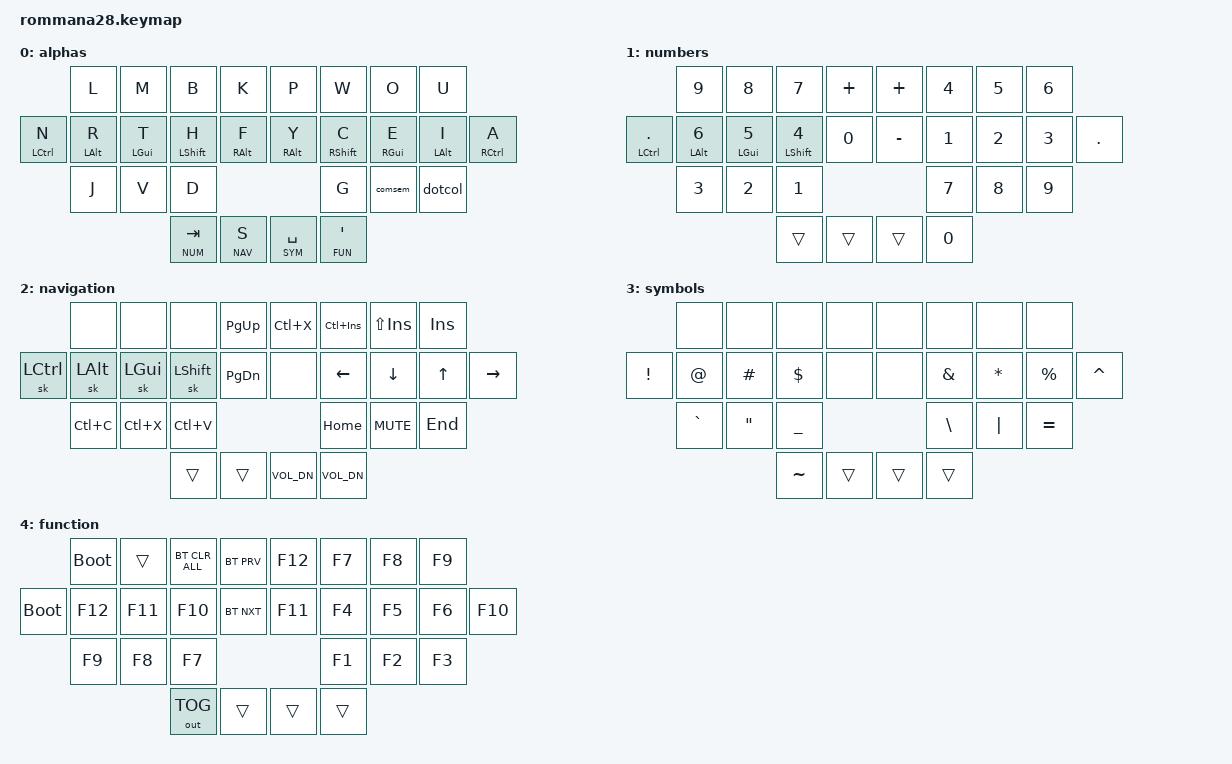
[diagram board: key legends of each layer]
#include <behaviors.dtsi>
#include <dt-bindings/zmk/keys.h>
#include <dt-bindings/zmk/bt.h>
#include <dt-bindings/zmk/outputs.h>

#define ALF 0
#define NUM 1
#define NAV 2
#define SYM 3
#define FUN 4
#define BLE 5

// &lt {
//     quick_tap_ms = <170>;
// };

&caps_word {
    continue-list = <UNDERSCORE MINUS BSPC LSHFT RSHFT>;
};

/ {
    macros {
        macro_sch: macro_sch {
            label = "Macro_sch";
            compatible = "zmk,behavior-macro";
            #binding-cells = <0>;
            bindings = <
		    &macro_tap &kp S
		    &macro_release &kp LSHIFT
		    &macro_tap &kp C &kp H
	    >;
        };
        macro_eu: macro_eu {
            label = "Macro_eu";
            compatible = "zmk,behavior-macro";
            #binding-cells = <0>;
            bindings = <
		    &macro_tap &kp E &kp U
	    >;
        };
        macro_oa: macro_oa {
            label = "Macro_oa";
            compatible = "zmk,behavior-macro";
            #binding-cells = <0>;
            bindings = <
		    &macro_tap &kp O &kp A
	    >;
        };
        macro_space_oss: macro_space_oss {
            label = "Macro_Space_OSS";
            compatible = "zmk,behavior-macro";
            #binding-cells = <0>;
            bindings
                = <&macro_tap &kp SPACE>
                , <&macro_tap &sk LSFT>
                ;
        };
        macro_de_ae: macro_de_ae {
            compatible = "zmk,behavior-macro";
            #binding-cells = <0>;
            bindings
                = <&macro_press &kp RALT>
                , <&macro_tap &kp DQT>
                , <&macro_release &kp RALT>
                , <&macro_tap &kp A>                   
                ;
            tap-ms = <10>;
        };
        macro_de_oe: macro_de_oe {
            compatible = "zmk,behavior-macro";
            #binding-cells = <0>;
            bindings
                = <&macro_press &kp RALT>
                , <&macro_tap &kp DQT>
                , <&macro_release &kp RALT>
                , <&macro_tap &kp O>                   
                ;
            tap-ms = <10>;
        };
        macro_de_ue: macro_de_ue {
            compatible = "zmk,behavior-macro";
            #binding-cells = <0>;
            bindings
                = <&macro_press &kp RALT>
                , <&macro_tap &kp DQT>
                , <&macro_release &kp RALT>
                , <&macro_tap &kp U>                   
                ;
            tap-ms = <10>;
        };
        macro_de_sz: macro_de_sz {
            compatible = "zmk,behavior-macro";
            #binding-cells = <0>;
            bindings
                = <&macro_press &kp RALT>
                , <&macro_tap &kp S>
                , <&macro_release &kp RALT>
                ;
            tap-ms = <10>;
        };
    };
};


#define COMBO(NAME, BINDINGS, KEYPOS) \
combo_##NAME { \
    timeout-ms = <20>; \
    bindings = <BINDINGS>; \
    key-positions = <KEYPOS>; \
};

/ {
    combos {
        compatible = "zmk,combos";

/* usually on base layer */
        COMBO(q, &kp Q, 0 1)
        COMBO(z, &kp Z, 1 2)
        COMBO(x, &kp X, 18 19)
        COMBO(_ae, &macro_de_ae, 17 26)
        COMBO(_oe, &macro_de_oe, 6 26)
        COMBO(_ue, &macro_de_ue, 7 26)
        COMBO(_sz, &macro_de_sz, 9 25)
        COMBO(sch, &macro_sch, 0 2)
        COMBO(slash, &kp SLASH, 22 23)
        COMBO(dash, &kp MINUS, 21 22)
        COMBO(enter, &kp ENTER, 21 23)
        COMBO(esc, &kp ESC, 19 20)
/* parentheticals */
        COMBO(lbrc, &kp LBRC, 0 9)
        COMBO(lbkt, &kp LBKT, 1 10)
        COMBO(lpar, &kp LPAR, 2 11)
        COMBO(lt, &kp LT, 3 12)
        COMBO(gt, &kp GT, 4 13)
        COMBO(rpar, &kp RPAR, 5 14)
        COMBO(rbkt, &kp RBKT, 6 15)
        COMBO(rbrc, &kp RBRC, 7 16)
/* caps */
        COMBO(caps, &caps_word, 11 14)
        COMBO(capslock, &kp CAPSLOCK, 0 7)
/* deletion */
        COMBO(tab, &kp TAB, 4 5)
        COMBO(bspc, &kp BSPC, 5 6)
        COMBO(del, &kp DEL, 6 7)
        COMBO(delword, &kp LC(BSPC), 5 7)
/* alternative shifting */
        COMBO(Scomma, &kp COLON, 23 27)
        COMBO(Sdot, &kp SEMI, 22 27)
        COMBO(loss, &sk LSFT, 9 11)
        COMBO(ross, &sk RSFT, 14 16)
    };
};

//     __________________________  __________________________
//    /     0  |  1  |  2  |  3  \/   4 |   5 |   6 |   7    \
// |  8  |  9  | 10  | 11  | 12  /\  13 |  14 |  15 |  16 | 17  |
//    \    18  | 19  | 20    /        \    21 |  22 |  23   /
//          \    24  | 25  /            \  26 |  27    /
//           --------------              --------------


/ {

    behaviors {
        hl: homerow_mods_left {
            compatible = "zmk,behavior-hold-tap";
            #binding-cells = <2>;
            // flavor = "tap-preferred";
            flavor = "balanced";
            tapping-term-ms = <150>;
            quick-tap-ms = <100>;
            // global-quick-tap;
            bindings = <&kp>, <&kp>;
            // opposite side hand keys
            hold-trigger-key-positions = <4 5 6 7 13 14 15 16 17 21 22 23 24 25 26 27>;
        };
        hr: homerow_mods_right {
            compatible = "zmk,behavior-hold-tap";
            #binding-cells = <2>;
            // flavor = "tap-preferred";
            flavor = "balanced";
            tapping-term-ms = <150>;
            quick-tap-ms = <100>;
            // global-quick-tap;
            bindings = <&kp>, <&kp>;
            // opposite side hand keys
            hold-trigger-key-positions = <0 1 2 3 8 9 10 11 12 18 19 20 24 25 26 27>;
        };

        my_lt: my_layer_taps {
            compatible = "zmk,behavior-hold-tap";
            #binding-cells = <2>;
            // flavor = "tap-preferred";
            flavor = "balanced";
            tapping-term-ms = <150>;
            quick-tap-ms = <100>;
            // global-quick-tap;
            bindings = <&mo>, <&kp>;
            // non-thumb keys
            // hold-trigger-key-positions = <0 1 2 3 4 5 6 7 8 9 10 11 12 13 14 15 16 17 18 19 20 21 22 23>;
        };
        sposs_lt: sposs_lt {
            compatible = "zmk,behavior-hold-tap";
            #binding-cells = <2>;
            // flavor = "tap-preferred";
            flavor = "balanced";
            tapping-term-ms = <150>;
            quick-tap-ms = <100>;
            // global-quick-tap;
            bindings = <&mo>, <&macro_space_oss>;
            // non-thumb keys
            // hold-trigger-key-positions = <0 1 2 3 4 5 6 7 8 9 10 11 12 13 14 15 16 17 18 19 20 21 22 23>;
        };

        dotcol: dot_colon {
            compatible = "zmk,behavior-mod-morph";
            label = "DOT_COL";
            #binding-cells = <0>;
            bindings = <&kp DOT>, <&kp COLON>;
            mods = <(MOD_LSFT|MOD_RSFT)>;
        };
        comsem: comma_semicolon {
            compatible = "zmk,behavior-mod-morph";
            label = "COM_SEM";
            #binding-cells = <0>;
            bindings = <&kp COMMA>, <&kp SEMI>;
            mods = <(MOD_LSFT|MOD_RSFT)>;
        };
    };
};


// Rommana28 physical layout approximation
//     __________________________  __________________________
//    /     0  |  1  |  2  |  3  \/   4 |   5 |   6 |   7    \
// |  8  |  9  | 10  | 11  | 12  /\  13 |  14 |  15 |  16 | 17  |
//    \    18  | 19  | 20    /        \    21 |  22 |  23   /
//          \    24  | 25  /            \  26 |  27    /
//           --------------              --------------

/ {

    keymap {
        compatible = "zmk,keymap";

        alphas {
            bindings = <
                               &kp L          &kp M          &kp B          &kp K          &kp P            &kp W          &kp O          &kp U
                &hl LCTRL N    &hl LALT R     &hl LGUI T     &hl LSHFT H    &hl RALT F     &hr RALT Y       &hr RSHFT C    &hr RGUI E     &hr LALT I     &hr RCTRL A
                               &kp J          &kp V          &kp D                                          &kp G          &comsem        &dotcol
                                                             &my_lt NUM TAB &my_lt NAV S   &my_lt SYM SPACE &my_lt FUN SQT
            >;
        };
        numbers {
            bindings = <
                              &kp N9      &kp N8      &kp N7       &kp PLUS       &kp PLUS       &kp N4         &kp N5         &kp N6
                &hl LCTRL DOT &hl LALT N6 &hl LGUI N5 &hl LSHFT N4 &kp N0         &kp MINUS      &kp N1         &kp N2         &kp N3         &kp DOT
                              &kp N3      &kp N2      &kp N1                                     &kp N7         &kp N8         &kp N9
                                                      &trans       &trans         &trans         &kp N0
            >;
        };
        navigation {
            bindings = <
                               &none          &none          &none           &kp PG_UP      &kp LC(X)      &kp LC(INSERT) &kp LS(INSERT) &kp INSERT
                &sk LCTRL      &sk LALT       &sk LGUI       &sk LSHFT       &kp PG_DN      &none          &kp LEFT       &kp DOWN       &kp UP         &kp RIGHT
                               &kp LC(C)      &kp LC(X)      &kp LC(V)                                     &kp HOME       &kp C_MUTE     &kp END
                                                             &trans          &trans         &kp C_VOL_DN   &kp C_VOL_DN
            >;
        };
        symbols {
            bindings = <
                               &none          &none          &none            &none          &none          &none          &none          &none
                &kp EXCL       &kp AT         &kp HASH       &kp DOLLAR       &none          &none          &kp AMPERSAND  &kp ASTERISK   &kp PERCENT    &kp CARET
                               &kp GRAVE      &kp DQT        &kp UNDERSCORE                                 &kp BACKSLASH  &kp PIPE       &kp EQUAL
                                                             &kp TILDE        &trans         &trans         &trans
            >;
        };
        function {
            bindings = <
                               &bootloader    &trans         &bt BT_CLR_ALL &bt BT_PRV     &kp F12        &kp F7         &kp F8         &kp F9
                &bootloader    &kp F12        &kp F11        &kp F10        &bt BT_NXT     &kp F11        &kp F4         &kp F5         &kp F6         &kp F10
                               &kp F9         &kp F8         &kp F7                                       &kp F1         &kp F2         &kp F3
                                                             &out OUT_TOG   &trans         &trans         &trans
            >;
        };
    };
};

//     __________________________  __________________________
//    /     1  |  2  |  3  |  4  \/   5 |   6 |   7 |   8    \
// | 10  | 11  | 12  | 13  | 14  ||  15 |  16 |  17 |  18 | 19  |
//    \    20  | 21  | 22  |     ||     |  23 |  24 |  25   /
//                \    26  | 27  /\  28 |  29    /
//                 --------------  --------------
